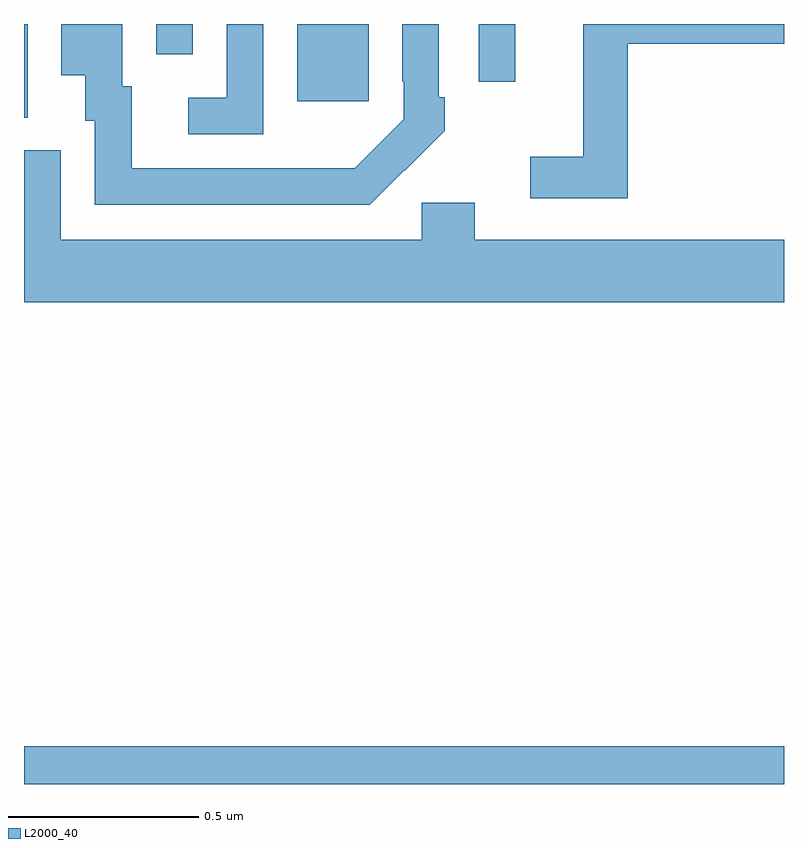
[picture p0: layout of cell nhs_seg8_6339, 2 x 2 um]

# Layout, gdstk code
import gdstk
lib = gdstk.Library(unit=1e-6, precision=1e-09)
def R(c, l, rs):  # rectangles x0, y0, x1, y1
    for r in rs: c.add(gdstk.rectangle(r[:2], r[2:], *l))
def P(c, l, *ps):  # polygons
    for p in ps: c.add(gdstk.Polygon(p, *l))
L2000_40 = (2000, 40)

nhs_seg8_6339 = lib.new_cell('nhs_seg8_6339')
R(nhs_seg8_6339, L2000_40, [(195,1113.9,197,1114), (195,1115.653,195.01,1115.9), (195.719,1115.697,195.907,1115.9), (196.197,1115.748,196.293,1115.9), (195.348,1115.82,195.444,1115.9)])
P(nhs_seg8_6339, L2000_40, [(196.001,1115.515),(196.002,1115.514),(196.107,1115.619),(196.107,1115.707),(196.092,1115.707),(196.092,1115.9),(195.996,1115.9),(195.996,1115.749),(195.999,1115.749),(195.999,1115.649),(195.871,1115.521),(195.767,1115.521),(195.767,1115.52),(195.283,1115.52),(195.283,1115.736),(195.259,1115.736),(195.259,1115.9),(195.098,1115.9),(195.098,1115.765),(195.161,1115.765),(195.161,1115.646),(195.186,1115.646),(195.186,1115.424),(195.91,1115.424)],
  [(195.63,1115.9),(195.534,1115.9),(195.534,1115.706),(195.432,1115.706),(195.432,1115.61),(195.63,1115.61)],
  [(196.589,1115.848),(197,1115.848),(197,1115.9),(196.472,1115.9),(196.472,1115.551),(196.332,1115.551),(196.332,1115.442),(196.589,1115.442)],
  [(197,1115.332),(196.186,1115.332),(196.186,1115.43),(196.047,1115.43),(196.047,1115.332),(195.097,1115.332),(195.097,1115.568),(195,1115.568),(195,1115.168),(197,1115.168)])

lib.write_gds('nhs_seg8_6339.gds')
